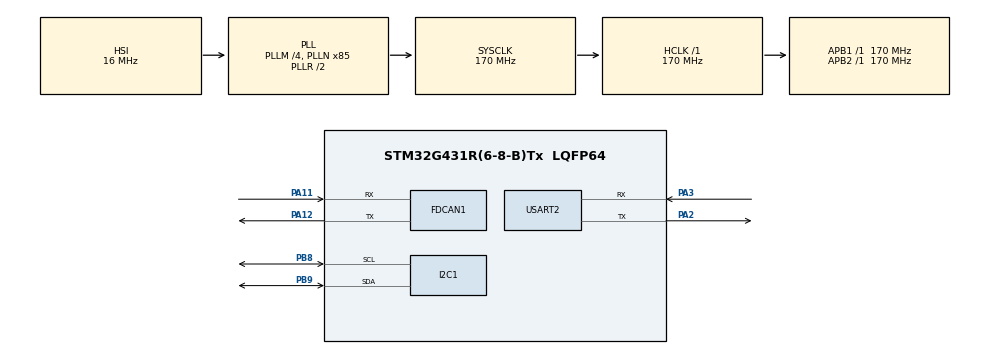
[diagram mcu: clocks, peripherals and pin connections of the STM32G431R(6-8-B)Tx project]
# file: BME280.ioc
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FDCAN1.CalculateBaudRateNominal=500000
FDCAN1.CalculateTimeBitNominal=2000
FDCAN1.CalculateTimeQuantumNominal=100.0
FDCAN1.NominalPrescaler=17
FDCAN1.NominalSyncJumpWidth=4
FDCAN1.NominalTimeSeg1=15
FDCAN1.NominalTimeSeg2=4
I2C1.Timing=0x40B285C2
Mcu.Family=STM32G4
Mcu.Name=STM32G431R(6-8-B)Tx
Mcu.Package=LQFP64
NUCLEO-G431RB.BUTTON=1
NUCLEO-G431RB.LD1=true
NUCLEO-G431RB.VCP=true
NVIC.EXTI15_10_IRQn=true\:0\:0\:false\:false\:true\:false\:true\:true
NVIC.PriorityGroup=NVIC_PRIORITYGROUP_4
PA11.Mode=FDCAN_Activate
PA11.Signal=FDCAN1_RX
PA12.Mode=FDCAN_Activate
PA12.Signal=FDCAN1_TX
PA13.GPIO_Label=T_SWDIO
PA13.Signal=SYS_JTMS-SWDIO
PA14.GPIO_Label=T_SWCLK
PA14.Signal=SYS_JTCK-SWCLK
PA2.Mode=Asynchronous
PA2.Signal=USART2_TX
PA3.Mode=Asynchronous
PA3.Signal=USART2_RX
PB3.GPIO_Label=T_SWO
PB3.Signal=SYS_JTDO-SWO
PB8-BOOT0.Mode=I2C
PB8-BOOT0.Signal=I2C1_SCL
PB9.Mode=I2C
PB9.Signal=I2C1_SDA
PC14-OSC32_IN.GPIO_Label=RCC_OSC32_OUT
PC14-OSC32_IN.Signal=RCC_OSC32_IN
PC15-OSC32_OUT.GPIO_Label=RCC_OSC32_OUT
PC15-OSC32_OUT.Signal=RCC_OSC32_OUT
PF0-OSC_IN.GPIO_Label=RCC_OSC_IN
PF0-OSC_IN.Signal=RCC_OSC_IN
PF1-OSC_OUT.GPIO_Label=RCC_OSC_OUT
PF1-OSC_OUT.Signal=RCC_OSC_OUT
ProjectManager.HeapSize=0x200
ProjectManager.StackSize=0x400
ProjectManager.TargetToolchain=STM32CubeIDE
RCC.ADC12Freq_Value=170000000
RCC.AHBFreq_Value=170000000
RCC.APB1Freq_Value=170000000
RCC.APB1TimFreq_Value=170000000
RCC.APB2Freq_Value=170000000
RCC.APB2TimFreq_Value=170000000
RCC.CortexFreq_Value=170000000
RCC.EXTERNAL_CLOCK_VALUE=12288000
RCC.HCLKFreq_Value=170000000
RCC.HSE_VALUE=24000000
RCC.HSI48_VALUE=48000000
RCC.HSI_VALUE=16000000
RCC.LSE_VALUE=32768
RCC.PLLM=RCC_PLLM_DIV4
RCC.PLLN=85
RCC.RTCClockSelection=RCC_RTCCLKSOURCE_LSE
RCC.SYSCLKFreq_VALUE=170000000
RCC.SYSCLKSource=RCC_SYSCLKSOURCE_PLLCLK
RCC.USBFreq_Value=170000000
RCC.VCOOutputFreq_Value=340000000
USART2.VirtualMode-Asynchronous=VM_ASYNC
VP_NUCLEO-G431RB_VS_BSP_COMMON.Mode=COMMON
VP_SYS_VS_DBSignals.Mode=DisableDeadBatterySignals
board=NUCLEO-G431RB

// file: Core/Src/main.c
/* USER CODE BEGIN Header */
/**
  ******************************************************************************
  * @file           : main.c
  * @brief          : Main program body
  ******************************************************************************
  * @attention
  *
  * Copyright (c) 2026 STMicroelectronics.
  * All rights reserved.
  *
  * This software is licensed under terms that can be found in the LICENSE file
  * in the root directory of this software component.
  * If no LICENSE file comes with this software, it is provided AS-IS.
  *
  ******************************************************************************
  */
/* USER CODE END Header */
#include "main.h"

/* USER CODE BEGIN Includes */
#include <stdio.h>
#include <string.h>

/* USER CODE END Includes */

COM_InitTypeDef BspCOMInit;
FDCAN_HandleTypeDef hfdcan1;

I2C_HandleTypeDef hi2c1;

UART_HandleTypeDef huart2;

void SystemClock_Config(void);
static void MX_GPIO_Init(void);
static void MX_I2C1_Init(void);
static void MX_USART2_UART_Init(void);
static void MX_FDCAN1_Init(void);

/* USER CODE BEGIN 0 */

void STM_putchar(uint8_t c)
{
    HAL_UART_Transmit(&huart2, &c, 1, 1000);
}

void UART_Print(char *message)
{
    while (*message != '\0')
    {
        STM_putchar((uint8_t)*message);
        message++;
    }
}

/* USER CODE END 0 */

int main(void)
{

  /* MCU Configuration--------------------------------------------------------*/

  /* Reset of all peripherals, Initializes the Flash interface and the Systick. */
  HAL_Init();

  /* Configure the system clock */
  SystemClock_Config();

  /* Initialize all configured peripherals */
  MX_GPIO_Init();
  MX_I2C1_Init();
  MX_USART2_UART_Init();
  MX_FDCAN1_Init();
  /* USER CODE BEGIN 2 */
  if (HAL_FDCAN_Start(&hfdcan1) != HAL_OK)
  {
      Error_Handler();
  }
  /* USER CODE BEGIN 2 */

  uint8_t data_reg = 0xF7;
  uint8_t raw_data[8] = {0};
  HAL_StatusTypeDef raw_read_status;
  int counter = 0;

  /* Existing chip ID test — KEEP THIS */

  uint8_t calb[26] = {0};
  uint8_t reg_calb = 0x88;
  HAL_StatusTypeDef calb_read_status =
		  HAL_I2C_Mem_Read(
		  &hi2c1,
		  0x77 << 1,
		  reg_calb,
		  I2C_MEMADD_SIZE_8BIT,
		  calb,
		  26,
		  100
		  );
  uint8_t hum_calb[7] = {0};
  uint8_t hum_calb_reg = 0xE1;

  HAL_StatusTypeDef hum_calb_read_status =
      HAL_I2C_Mem_Read(
          &hi2c1,
          0x77 << 1,
          hum_calb_reg,
          I2C_MEMADD_SIZE_8BIT,
          hum_calb,
          7,
          100
      );

  /* Temperature coefficients */
  uint16_t dig_T1 = (uint16_t)((calb[1] << 8) | calb[0]);
  int16_t dig_T2 = (int16_t)((calb[3] << 8) | calb[2]);
  int16_t dig_T3 = (int16_t)((calb[5] << 8) | calb[4]);

  /* Pressure coefficients */
  uint16_t dig_P1 = (uint16_t)((calb[7] << 8) | calb[6]);
  int16_t dig_P2 = (int16_t)((calb[9] << 8) | calb[8]);
  int16_t dig_P3 = (int16_t)((calb[11] << 8) | calb[10]);
  int16_t dig_P4 = (int16_t)((calb[13] << 8) | calb[12]);
  int16_t dig_P5 = (int16_t)((calb[15] << 8) | calb[14]);
  int16_t dig_P6 = (int16_t)((calb[17] << 8) | calb[16]);
  int16_t dig_P7 = (int16_t)((calb[19] << 8) | calb[18]);
  int16_t dig_P8 = (int16_t)((calb[21] << 8) | calb[20]);
  int16_t dig_P9 = (int16_t)((calb[23] << 8) | calb[22]);

  /* Humidity coefficients */
  uint8_t dig_H1 = calb[25];

  uint16_t h2_u = (uint16_t)(((uint16_t)hum_calb[1] << 8)
                             | hum_calb[0]);
  int16_t dig_H2 = (int16_t)h2_u;

  uint8_t dig_H3 = hum_calb[2];

  uint16_t h4_u = (uint16_t)(((uint16_t)(uint8_t)hum_calb[3] << 4)
                             | (hum_calb[4] & 0x0F));
  int16_t dig_H4 = (h4_u & 0x0800)
                    ? (int16_t)(h4_u | 0xF000)
                    : (int16_t)h4_u;

  uint16_t h5_u = (uint16_t)(((uint16_t)(uint8_t)hum_calb[5] << 4)
                             | (hum_calb[4] >> 4));
  int16_t dig_H5 = (h5_u & 0x0800)
                    ? (int16_t)(h5_u | 0xF000)
                    : (int16_t)h5_u;

  int8_t dig_H6 = (int8_t)hum_calb[6];

  /* Combine the 3 temperature bytes into a 20-bit raw value */

  /* Combine the 3 pressure bytes into a 20-bit raw value */
  char msg5[] = "UART MESSAGE BEFORE LOOP\r\n";

                HAL_UART_Transmit(&huart2,
                                  (uint8_t *)msg5,
                                  sizeof(msg5) - 1,
                                  1000);

  /* USER CODE END 2 */

  /* Initialize leds */
  BSP_LED_Init(LED_GREEN);

  /* Initialize USER push-button, will be used to trigger an interrupt each time it's pressed.*/
  BSP_PB_Init(BUTTON_USER, BUTTON_MODE_EXTI);

  /* Initialize COM1 port (115200, 8 bits (7-bit data + 1 stop bit), no parity */
  BspCOMInit.BaudRate   = 115200;
  BspCOMInit.WordLength = COM_WORDLENGTH_8B;
  BspCOMInit.StopBits   = COM_STOPBITS_1;
  BspCOMInit.Parity     = COM_PARITY_NONE;
  BspCOMInit.HwFlowCtl  = COM_HWCONTROL_NONE;
  /*if (BSP_COM_Init(COM1, &BspCOMInit) != BSP_ERROR_NONE)
  {
    Error_Handler();
  }
  */

  /* Infinite loop */
  while (1)
  {

    /* USER CODE BEGIN 3 */
	   raw_read_status =
	  	       HAL_I2C_Mem_Read(
	  	           &hi2c1,
	  	           0x77 << 1,
	  	           data_reg,
	  	           I2C_MEMADD_SIZE_8BIT,
	  	           raw_data,
	  	           8,
	  	           100
	  	       );
	  	  if (raw_read_status != HAL_OK)
	  	  {
	  	      HAL_Delay(1000);
	  	      continue;
	  	  }
	  	   uint32_t raw_temp =
	  	         ((uint32_t)raw_data[3] << 12) |
	  	         ((uint32_t)raw_data[4] << 4)  |
	  	         ((uint32_t)raw_data[5] >> 4);

	  	     int32_t var1, var2, t_fine;
	  	     int32_t temperature_centi;
	  	     var1 = ((((int32_t)(raw_temp >> 3) -
	  	               ((int32_t)dig_T1 << 1))) *
	  	             (int32_t)dig_T2) >> 11;
	  	     var2 = (((((int32_t)(raw_temp >> 4) -
	  	                (int32_t)dig_T1) *
	  	               ((int32_t)(raw_temp >> 4) -
	  	                (int32_t)dig_T1)) >> 12) *
	  	             (int32_t)dig_T3) >> 14;
	  	     t_fine = var1 + var2;
	  	     temperature_centi = (t_fine * 5 + 128) >> 8;
	  	     float temperature_C = (float)temperature_centi / 100.0f;

	  	     uint32_t raw_pressure =
	  	         ((uint32_t)raw_data[0] << 12) |
	  	         ((uint32_t)raw_data[1] << 4)  |
	  	         ((uint32_t)raw_data[2] >> 4);

	  	     int64_t var1_p, var2_p, pressure_comp;
	  	     var1_p = (int64_t)t_fine - 128000;
	  	     var2_p = var1_p * var1_p * (int64_t)dig_P6;
	  	     var2_p = var2_p + ((var1_p * (int64_t)dig_P5) << 17);
	  	     var2_p = var2_p + (((int64_t)dig_P4) << 35);
	  	     var1_p = ((var1_p * var1_p * (int64_t)dig_P3) >> 8)
	  	            + ((var1_p * (int64_t)dig_P2) << 12);
	  	     var1_p = (((((int64_t)1) << 47) + var1_p)
	  	              * (int64_t)dig_P1) >> 33;
	  	     float pressure_hPa = 0.0f;
	  	     if (var1_p != 0)
	  	     {
	  	         pressure_comp = 1048576 - (int64_t)raw_pressure;
	  	         pressure_comp = (((pressure_comp << 31) - var2_p)
	  	                         * 3125) / var1_p;
	  	         var1_p = ((int64_t)dig_P9
	  	                  * (pressure_comp >> 13)
	  	                  * (pressure_comp >> 13)) >> 25;
	  	         var2_p = ((int64_t)dig_P8
	  	                  * pressure_comp) >> 19;
	  	         pressure_comp = ((pressure_comp + var1_p + var2_p) >> 8)
	  	                       + (((int64_t)dig_P7) << 4);
	  	         pressure_hPa = (float)pressure_comp / 25600.0f;
	  	     }

	  	     uint16_t raw_humidity =
	  	         ((uint16_t)raw_data[6] << 8) |
	  	         (uint16_t)raw_data[7];

	  	     int32_t h = t_fine - 76800;
	  	     h = (((((int32_t)raw_humidity << 14)
	  	            - ((int32_t)dig_H4 << 20)
	  	            - ((int32_t)dig_H5 * h)) + 16384) >> 15)
	  	         * (((((((h * (int32_t)dig_H6) >> 10)
	  	                * (((h * (int32_t)dig_H3) >> 11) + 32768)) >> 10)
	  	              + 2097152) * (int32_t)dig_H2 + 8192) >> 14);
	  	     h = h - (((((h >> 15) * (h >> 15)) >> 7)
	  	               * (int32_t)dig_H1) >> 4);
	  	     if (h < 0)
	  	     {
	  	         h = 0;
	  	     }
	  	     else if (h > 419430400)
	  	     {
	  	         h = 419430400;
	  	     }
	  	     float humidity_RH = (float)(h >> 12) / 1024.0f;

	  	   char message[120];

	  	   snprintf(message, sizeof(message),
	  	            "Temperature: %.2f C | Pressure: %.2f hPa | Humidity: %.2f %%RH\r\n",
	  	            temperature_C,
	  	            pressure_hPa,
	  	            humidity_RH);
	  	 if (raw_read_status != HAL_OK)
	  	 {
	  	     HAL_Delay(1000);
	  	     continue;
	  	 }
	  	   UART_Print(message);

	  	   HAL_Delay(1000);
	  	 counter++;
	  	 if (counter >= 5)
	  	 {
	  	     UART_Print("\033[2J\033[H");
	  	     counter = 0;
	  	 }
	  	HAL_Delay(1000);

  }

  /* USER CODE END 3 */
}

void SystemClock_Config(void)
{
  RCC_OscInitTypeDef RCC_OscInitStruct = {0};
  RCC_ClkInitTypeDef RCC_ClkInitStruct = {0};

  /** Configure the main internal regulator output voltage
  */
  HAL_PWREx_ControlVoltageScaling(PWR_REGULATOR_VOLTAGE_SCALE1_BOOST);

  /** Initializes the RCC Oscillators according to the specified parameters
  * in the RCC_OscInitTypeDef structure.
  */
  RCC_OscInitStruct.OscillatorType = RCC_OSCILLATORTYPE_HSI;
  RCC_OscInitStruct.HSIState = RCC_HSI_ON;
  RCC_OscInitStruct.HSICalibrationValue = RCC_HSICALIBRATION_DEFAULT;
  RCC_OscInitStruct.PLL.PLLState = RCC_PLL_ON;
  RCC_OscInitStruct.PLL.PLLSource = RCC_PLLSOURCE_HSI;
  RCC_OscInitStruct.PLL.PLLM = RCC_PLLM_DIV4;
  RCC_OscInitStruct.PLL.PLLN = 85;
  RCC_OscInitStruct.PLL.PLLP = RCC_PLLP_DIV2;
  RCC_OscInitStruct.PLL.PLLQ = RCC_PLLQ_DIV2;
  RCC_OscInitStruct.PLL.PLLR = RCC_PLLR_DIV2;
  if (HAL_RCC_OscConfig(&RCC_OscInitStruct) != HAL_OK)
  {
    Error_Handler();
  }

  /** Initializes the CPU, AHB and APB buses clocks
  */
  RCC_ClkInitStruct.ClockType = RCC_CLOCKTYPE_HCLK|RCC_CLOCKTYPE_SYSCLK
                              |RCC_CLOCKTYPE_PCLK1|RCC_CLOCKTYPE_PCLK2;
  RCC_ClkInitStruct.SYSCLKSource = RCC_SYSCLKSOURCE_PLLCLK;
  RCC_ClkInitStruct.AHBCLKDivider = RCC_SYSCLK_DIV1;
  RCC_ClkInitStruct.APB1CLKDivider = RCC_HCLK_DIV1;
  RCC_ClkInitStruct.APB2CLKDivider = RCC_HCLK_DIV1;

  if (HAL_RCC_ClockConfig(&RCC_ClkInitStruct, FLASH_LATENCY_4) != HAL_OK)
  {
    Error_Handler();
  }
}

static void MX_FDCAN1_Init(void)
{

  hfdcan1.Instance = FDCAN1;
  hfdcan1.Init.ClockDivider = FDCAN_CLOCK_DIV1;
  hfdcan1.Init.FrameFormat = FDCAN_FRAME_CLASSIC;
  hfdcan1.Init.Mode = FDCAN_MODE_NORMAL;
  hfdcan1.Init.AutoRetransmission = DISABLE;
  hfdcan1.Init.TransmitPause = DISABLE;
  hfdcan1.Init.ProtocolException = DISABLE;
  hfdcan1.Init.NominalPrescaler = 17;
  hfdcan1.Init.NominalSyncJumpWidth = 4;
  hfdcan1.Init.NominalTimeSeg1 = 15;
  hfdcan1.Init.NominalTimeSeg2 = 4;
  hfdcan1.Init.DataPrescaler = 1;
  hfdcan1.Init.DataSyncJumpWidth = 1;
  hfdcan1.Init.DataTimeSeg1 = 1;
  hfdcan1.Init.DataTimeSeg2 = 1;
  hfdcan1.Init.StdFiltersNbr = 0;
  hfdcan1.Init.ExtFiltersNbr = 0;
  hfdcan1.Init.TxFifoQueueMode = FDCAN_TX_FIFO_OPERATION;
  if (HAL_FDCAN_Init(&hfdcan1) != HAL_OK)
  {
    Error_Handler();
  }

}

static void MX_I2C1_Init(void)
{

  hi2c1.Instance = I2C1;
  hi2c1.Init.Timing = 0x40B285C2;
  hi2c1.Init.OwnAddress1 = 0;
  hi2c1.Init.AddressingMode = I2C_ADDRESSINGMODE_7BIT;
  hi2c1.Init.DualAddressMode = I2C_DUALADDRESS_DISABLE;
  hi2c1.Init.OwnAddress2 = 0;
  hi2c1.Init.OwnAddress2Masks = I2C_OA2_NOMASK;
  hi2c1.Init.GeneralCallMode = I2C_GENERALCALL_DISABLE;
  hi2c1.Init.NoStretchMode = I2C_NOSTRETCH_DISABLE;
  if (HAL_I2C_Init(&hi2c1) != HAL_OK)
  {
    Error_Handler();
  }

  /** Configure Analogue filter
  */
  if (HAL_I2CEx_ConfigAnalogFilter(&hi2c1, I2C_ANALOGFILTER_ENABLE) != HAL_OK)
  {
    Error_Handler();
  }

  /** Configure Digital filter
  */
  if (HAL_I2CEx_ConfigDigitalFilter(&hi2c1, 0) != HAL_OK)
  {
    Error_Handler();
  }

}

static void MX_USART2_UART_Init(void)
{

  huart2.Instance = USART2;
  huart2.Init.BaudRate = 115200;
  huart2.Init.WordLength = UART_WORDLENGTH_8B;
  huart2.Init.StopBits = UART_STOPBITS_1;
  huart2.Init.Parity = UART_PARITY_NONE;
  huart2.Init.Mode = UART_MODE_TX_RX;
  huart2.Init.HwFlowCtl = UART_HWCONTROL_NONE;
  huart2.Init.OverSampling = UART_OVERSAMPLING_16;
  huart2.Init.OneBitSampling = UART_ONE_BIT_SAMPLE_DISABLE;
  huart2.Init.ClockPrescaler = UART_PRESCALER_DIV1;
  huart2.AdvancedInit.AdvFeatureInit = UART_ADVFEATURE_NO_INIT;
  if (HAL_UART_Init(&huart2) != HAL_OK)
  {
    Error_Handler();
  }
  if (HAL_UARTEx_SetTxFifoThreshold(&huart2, UART_TXFIFO_THRESHOLD_1_8) != HAL_OK)
  {
    Error_Handler();
  }
  if (HAL_UARTEx_SetRxFifoThreshold(&huart2, UART_RXFIFO_THRESHOLD_1_8) != HAL_OK)
  {
    Error_Handler();
  }
  if (HAL_UARTEx_DisableFifoMode(&huart2) != HAL_OK)
  {
    Error_Handler();
  }

}

static void MX_GPIO_Init(void)
{

  /* GPIO Ports Clock Enable */
  __HAL_RCC_GPIOC_CLK_ENABLE();
  __HAL_RCC_GPIOF_CLK_ENABLE();
  __HAL_RCC_GPIOA_CLK_ENABLE();
  __HAL_RCC_GPIOB_CLK_ENABLE();

}

void Error_Handler(void)
{
  __disable_irq();
  while (1)
  {
  }
}
